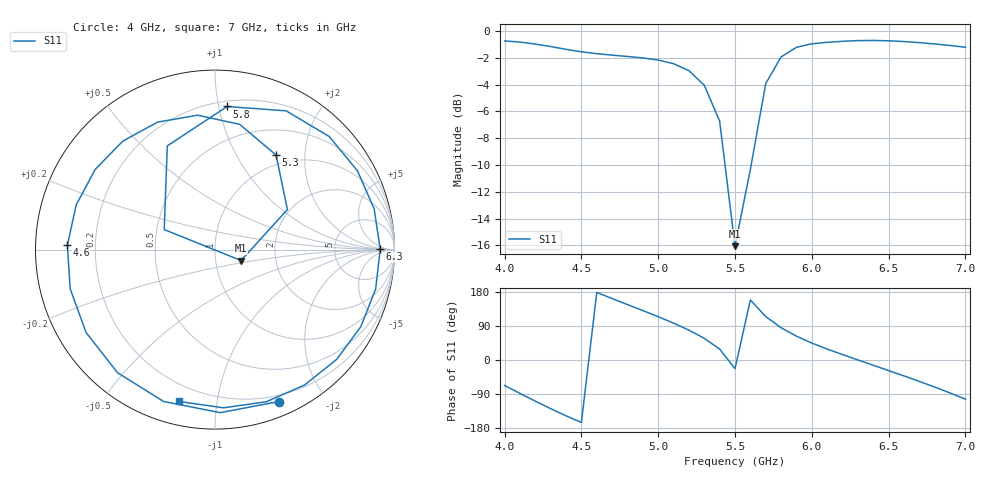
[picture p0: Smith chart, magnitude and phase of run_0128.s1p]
! Touchstone file exported from HFSS 2024.2.0
!  File:  C:/Users/wsak9/Desktop/Sim Fast/Widenad Patch/WP_AI_V1_sweep.aedt
!  Generated:  08:15:18 PM Oct 13, 2026
!  Design:  A1_model
!  Project:  WP_AI_V1_sweep
!  Setup:  Setup1
!  Solution:  Sweep
! Variables:
!  Air_gap = 4.35mm
!  Curve_Amp1 = 1.47
!  Curve_len1 = 1
!  Curve_pos = 11.04mm
!  Extra = 2.61mm
!  H_sub = 0.79mm
!  L_Patch = 18.08mm
!  L_Patch1 = 19.09mm
!  Sx = 3.42mm
!  Sy = 3.8mm
!  WS = 0.99mm
!  W_Patch = 20.84mm
!  W_Patch1 = 16.48mm
!Data is not renormalized
# GHz S MA
! Terminal data exported
! Port[1] = 1
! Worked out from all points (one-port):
!   31 points, 4 GHz to 7 GHz, reference per port
!   lowest |S11| = -16.1 dB at 5.5 GHz (marker M1), VSWR 1.37
!   |S11| at or under -10 dB: 5.435 GHz to 5.605 GHz (170.2 MHz wide, 3.08 % of centre)
!   S11 on the Smith chart (normalised r, x): 4 GHz: 0.14, -1.49; 4.6 GHz: 0.10, +0.01; 5.3 GHz: 0.85, +1.48; 5.8 GHz: 0.24, +1.06; 6.3 GHz: 24, +1; 7 GHz: 0.11, -0.79
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4  0.9179 -67.3
4.1  0.909 -88.1
4.2  0.8933 -108.6
4.3  0.8749 -128.4
4.4  0.854 -147.3
4.5  0.8359 -164.8
4.6  0.8229 178.3
4.8  0.8032 146.2
5  0.779 114.3
5.1  0.755 97.3
5.2  0.7111 78.8
5.3  0.627 57.1
5.4  0.4611 28.9
5.5  0.1574 -22.8
5.6  0.3042 158.4
5.7  0.6361 114.7
5.8  0.8002 85.1
5.9  0.8688 62.9
6  0.8956 44.7
6.1  0.907 28.9
6.2  0.9151 14.3
6.3  0.9205 0.2
6.4  0.9217 -13.9
6.5  0.9189 -27.9
6.7  0.9047 -56.5
6.8  0.8945 -71.4
6.9  0.8827 -86.9
7  0.8695 -103.3
